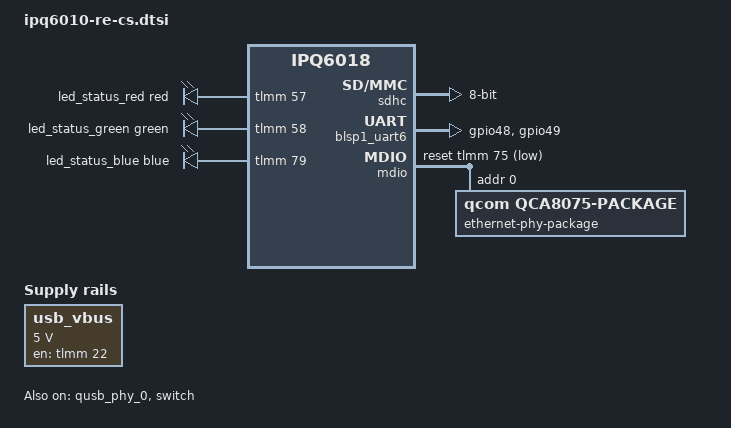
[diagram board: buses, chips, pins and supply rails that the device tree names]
// SPDX-License-Identifier: GPL-2.0-or-later OR MIT

#include "ipq6018.dtsi"
#include "ipq6018-ess.dtsi"
#include "ipq6018-nss.dtsi"
#include "ipq6018-common.dtsi"

#include <dt-bindings/gpio/gpio.h>
#include <dt-bindings/input/input.h>
#include <dt-bindings/leds/common.h>

/ {
	aliases {
		serial0 = &blsp1_uart3;
		serial1 = &blsp1_uart6;

		led-boot = &led_status_blue;
		led-failsafe = &led_status_red;
		led-running = &led_status_green;
		led-upgrade = &led_status_red;
	};

	chosen {
		stdout-path = "serial0:115200n8";
	};

	leds {
		compatible = "gpio-leds";

		led_status_red: status-red {
			color = <LED_COLOR_ID_RED>;
			function = LED_FUNCTION_STATUS;
			gpios = <&tlmm 57 GPIO_ACTIVE_HIGH>;
		};

		led_status_green: status-green {
			color = <LED_COLOR_ID_GREEN>;
			function = LED_FUNCTION_STATUS;
			gpios = <&tlmm 58 GPIO_ACTIVE_HIGH>;
		};

		led_status_blue: status-blue {
			color = <LED_COLOR_ID_BLUE>;
			function = LED_FUNCTION_STATUS;
			gpios = <&tlmm 79 GPIO_ACTIVE_HIGH>;
		};
	};

	usb_vbus: regulator-usb-vbus {
		compatible = "regulator-fixed";
		regulator-name = "usb_vbus";
		regulator-min-microvolt = <5000000>;
		regulator-max-microvolt = <5000000>;
		gpios = <&tlmm 22 GPIO_ACTIVE_HIGH>;
		enable-active-high;
		regulator-boot-on;
	};
};

&qusb_phy_0 {
	status = "okay";
	vdd-supply = <&usb_vbus>;
};

&sdhc {
	status = "okay";

	bus-width = <8>;
	mmc-ddr-1_8v;
	mmc-hs200-1_8v;

	/delete-property/ mmc-hs400-1_8v;
};

&tlmm {
	btuart_pins: btuart-pins {
		pins = "gpio48", "gpio49";
		function = "blsp5_uart";
		drive-strength = <8>;
		bias-pull-up;
	};
};

&blsp1_uart6 {
	status = "okay";

	pinctrl-0 = <&btuart_pins>;
	pinctrl-names = "default";
};

&mdio {
	status = "okay";

	pinctrl-0 = <&mdio_pins>;
	pinctrl-names = "default";
	reset-gpios = <&tlmm 75 GPIO_ACTIVE_LOW>;

	ethernet-phy-package@0 {
		compatible = "qcom,qca8075-package";
		#address-cells = <1>;
		#size-cells = <0>;
		reg = <0>;

		qca8075_24: ethernet-phy@24 {
			compatible = "ethernet-phy-ieee802.3-c22";
			reg = <24>;
		};

		qca8075_25: ethernet-phy@25 {
			compatible = "ethernet-phy-ieee802.3-c22";
			reg = <25>;
		};

		qca8075_26: ethernet-phy@26 {
			compatible = "ethernet-phy-ieee802.3-c22";
			reg = <26>;
		};

		qca8075_27: ethernet-phy@27 {
			compatible = "ethernet-phy-ieee802.3-c22";
			reg = <27>;
		};
	};
};

&switch {
	status = "okay";

	qcom,port_phyinfo {
		port@1 {
			port_id = <1>;
			phy_address = <24>;
		};

		port@2 {
			port_id = <2>;
			phy_address = <25>;
		};

		port@3 {
			port_id = <3>;
			phy_address = <26>;
		};

		port@4 {
			port_id = <4>;
			phy_address = <27>;
		};
	};
};
